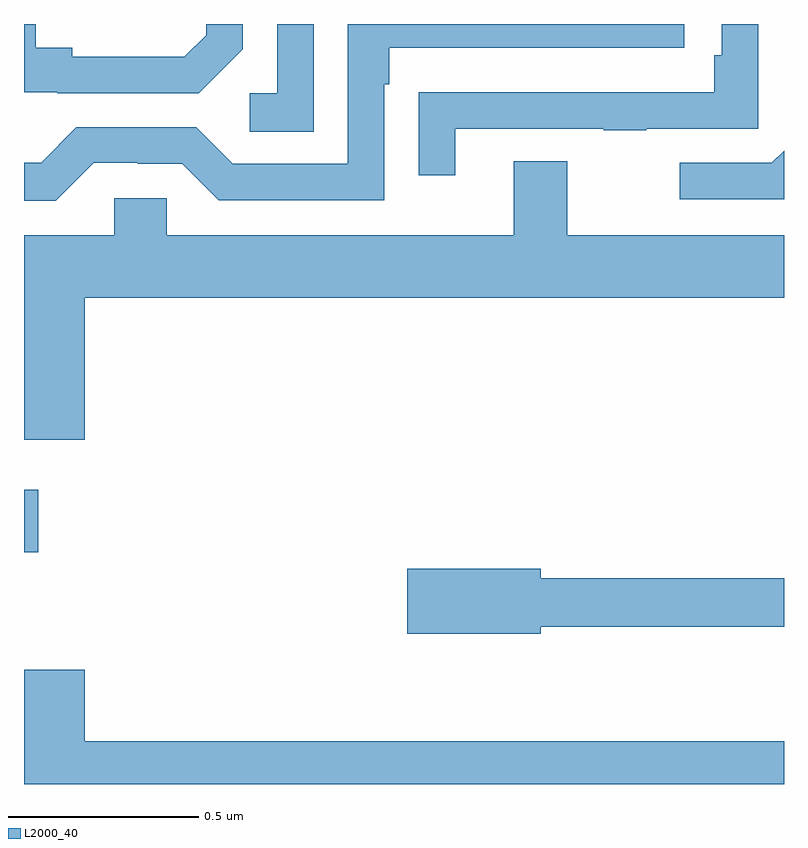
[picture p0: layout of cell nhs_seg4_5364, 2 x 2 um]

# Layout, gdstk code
import gdstk
lib = gdstk.Library(unit=1e-6, precision=1e-09)
def R(c, l, rs):  # rectangles x0, y0, x1, y1
    for r in rs: c.add(gdstk.rectangle(r[:2], r[2:], *l))
def P(c, l, *ps):  # polygons
    for p in ps: c.add(gdstk.Polygon(p, *l))
L2000_40 = (2000, 40)

nhs_seg4_5364 = lib.new_cell('nhs_seg4_5364')
R(nhs_seg4_5364, L2000_40, [(177,769.51,177.037,769.675), (177.203,770.899,177.348,770.9)])
P(nhs_seg4_5364, L2000_40, [(178.135,770.625),(178.525,770.625),(178.525,770.62),(178.637,770.62),(178.637,770.625),(178.932,770.625),(178.932,770.9),(178.836,770.9),(178.836,770.818),(178.816,770.818),(178.816,770.721),(178.141,770.721),(178.141,770.72),(178.039,770.72),(178.039,770.502),(178.135,770.502)],
  [(177.576,770.834),(177.576,770.9),(177.479,770.9),(177.479,770.871),(177.422,770.814),(177.127,770.814),(177.127,770.837),(177.031,770.837),(177.031,770.9),(177,770.9),(177,770.721),(177.088,770.721),(177.088,770.718),(177.46,770.718)],
  [(177.762,770.9),(177.666,770.9),(177.666,770.718),(177.594,770.718),(177.594,770.617),(177.762,770.617)],
  [(177.183,770.535),(177.299,770.535),(177.299,770.532),(177.417,770.532),(177.513,770.436),(177.948,770.436),(177.948,770.741),(177.961,770.741),(177.961,770.838),(178.738,770.838),(178.738,770.9),(177.852,770.9),(177.852,770.532),(177.549,770.532),(177.453,770.628),(177.138,770.628),(177.045,770.535),(177,770.535),(177,770.435),(177.083,770.435)],
  [(179,770.567),(178.968,770.535),(178.725,770.535),(178.725,770.439),(179,770.439)],
  [(177.16,770.18),(179,770.18),(179,770.344),(178.429,770.344),(178.429,770.539),(178.289,770.539),(178.289,770.344),(177.375,770.344),(177.375,770.442),(177.237,770.442),(177.237,770.344),(177,770.344),(177,769.806),(177.16,769.806)],
  [(178.36,769.314),(179,769.314),(179,769.442),(178.36,769.442),(178.36,769.466),(178.008,769.466),(178.008,769.295),(178.36,769.295)],
  [(179,769.012),(177.16,769.012),(177.16,769.201),(177,769.201),(177,768.9),(179,768.9)])

lib.write_gds('nhs_seg4_5364.gds')
